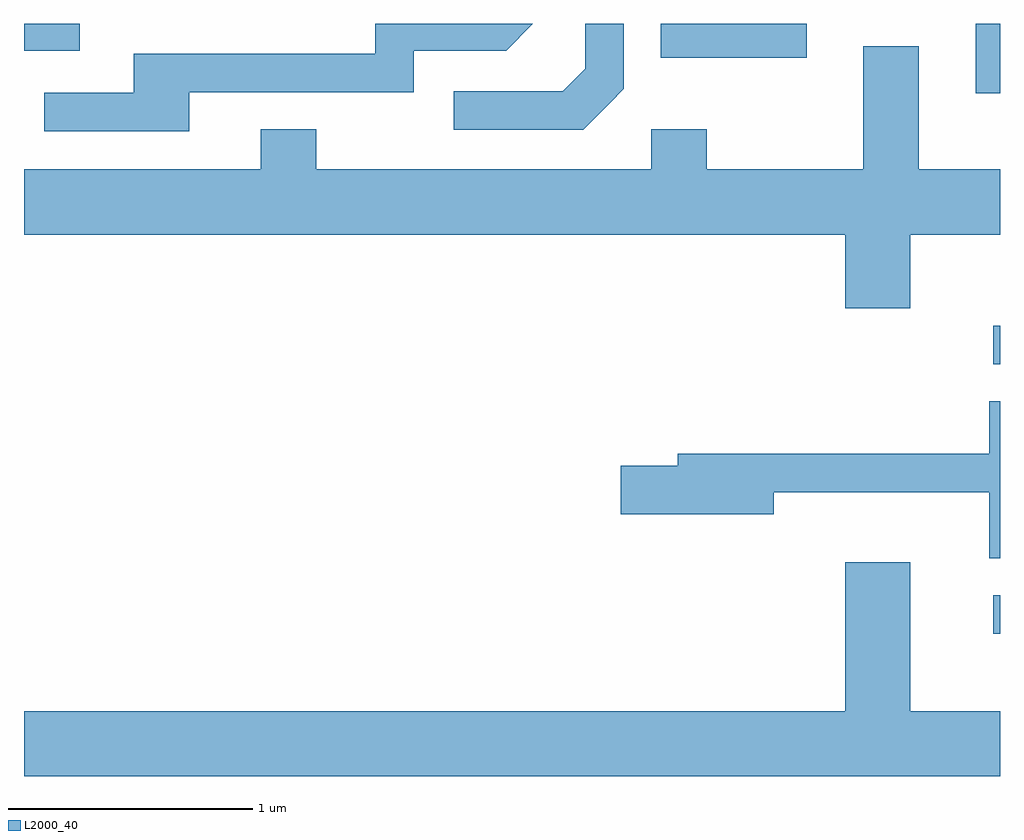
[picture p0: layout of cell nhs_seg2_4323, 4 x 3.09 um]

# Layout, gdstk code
import gdstk
lib = gdstk.Library(unit=1e-6, precision=1e-09)
def R(c, l, rs):  # rectangles x0, y0, x1, y1
    for r in rs: c.add(gdstk.rectangle(r[:2], r[2:], *l))
def P(c, l, *ps):  # polygons
    for p in ps: c.add(gdstk.Polygon(p, *l))
L2000_40 = (2000, 40)

nhs_seg2_4323 = lib.new_cell('nhs_seg2_4323')
R(nhs_seg2_4323, L2000_40, [(315.583,1093.301,315.611,1093.459), (315.583,1094.406,315.611,1094.564), (315.511,1095.516,315.611,1095.802), (314.221,1095.661,314.819,1095.802), (311.611,1095.691,311.839,1095.802)])
P(nhs_seg2_4323, L2000_40, [(312.289,1095.521),(313.209,1095.521),(313.209,1095.691),(313.587,1095.691),(313.697,1095.802),(313.051,1095.802),(313.051,1095.679),(312.061,1095.679),(312.061,1095.519),(311.693,1095.519),(311.693,1095.361),(312.289,1095.361)],
  [(314.013,1095.477),(314.069,1095.534),(314.069,1095.802),(313.911,1095.802),(313.911,1095.617),(313.819,1095.524),(313.373,1095.524),(313.373,1095.366),(313.902,1095.366)],
  [(315.244,1094.936),(315.611,1094.936),(315.611,1095.204),(315.279,1095.204),(315.279,1095.709),(315.051,1095.709),(315.051,1095.204),(314.409,1095.204),(314.409,1095.369),(314.181,1095.369),(314.181,1095.204),(312.809,1095.204),(312.809,1095.369),(312.581,1095.369),(312.581,1095.204),(311.611,1095.204),(311.611,1094.936),(314.976,1094.936),(314.976,1094.636),(315.244,1094.636)],
  [(315.611,1094.254),(315.566,1094.254),(315.566,1094.039),(314.291,1094.039),(314.291,1093.989),(314.056,1093.989),(314.056,1093.791),(314.684,1093.791),(314.684,1093.881),(315.566,1093.881),(315.566,1093.611),(315.611,1093.611)],
  [(315.611,1092.984),(315.244,1092.984),(315.244,1093.594),(314.976,1093.594),(314.976,1092.984),(311.611,1092.984),(311.611,1092.716),(315.611,1092.716)])

lib.write_gds('nhs_seg2_4323.gds')
